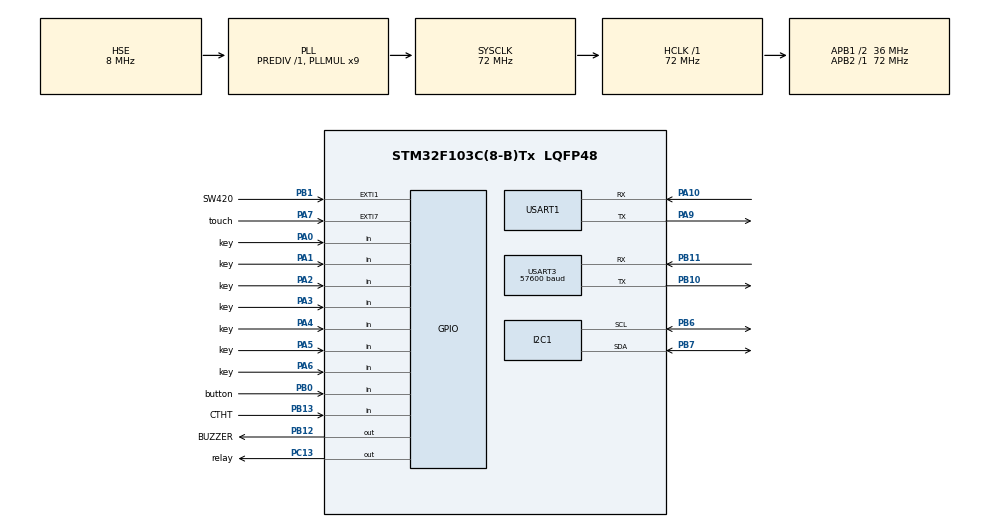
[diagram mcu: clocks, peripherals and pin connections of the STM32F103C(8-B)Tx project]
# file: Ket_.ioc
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Mcu.Family=STM32F1
Mcu.Name=STM32F103C(8-B)Tx
Mcu.Package=LQFP48
NVIC.EXTI1_IRQn=true\:0\:0\:false\:false\:true\:true\:true\:true
NVIC.EXTI9_5_IRQn=true\:0\:0\:false\:false\:true\:true\:true\:true
NVIC.PriorityGroup=NVIC_PRIORITYGROUP_4
NVIC.USART1_IRQn=true\:0\:0\:false\:false\:true\:true\:true\:true
NVIC.USART3_IRQn=true\:0\:0\:false\:false\:true\:true\:true\:true
PA0-WKUP.GPIO_Label=key
PA0-WKUP.Signal=GPIO_Input
PA1.GPIO_Label=key
PA1.Signal=GPIO_Input
PA10.Mode=Asynchronous
PA10.Signal=USART1_RX
PA13.Mode=Serial_Wire
PA13.Signal=SYS_JTMS-SWDIO
PA14.Mode=Serial_Wire
PA14.Signal=SYS_JTCK-SWCLK
PA2.GPIO_Label=key
PA2.Signal=GPIO_Input
PA3.GPIO_Label=key
PA3.Signal=GPIO_Input
PA4.GPIO_Label=key
PA4.Signal=GPIO_Input
PA5.GPIO_Label=key
PA5.Signal=GPIO_Input
PA6.GPIO_Label=key
PA6.Signal=GPIO_Input
PA7.GPIO_Label=touch
PA7.GPIO_ModeDefaultEXTI=GPIO_MODE_IT_RISING
PA7.GPIO_PuPd=GPIO_PULLDOWN
PA7.Signal=GPXTI7
PA9.Mode=Asynchronous
PA9.Signal=USART1_TX
PB0.GPIO_Label=button
PB0.GPIO_Mode=GPIO_MODE_INPUT
PB0.GPIO_PuPd=GPIO_PULLUP
PB0.Signal=GPIO_Input
PB1.GPIO_Label=SW420
PB1.GPIO_ModeDefaultEXTI=GPIO_MODE_IT_RISING_FALLING
PB1.Signal=GPXTI1
PB10.Mode=Asynchronous
PB10.Signal=USART3_TX
PB11.Mode=Asynchronous
PB11.Signal=USART3_RX
PB12.GPIO_Label=BUZZER
PB12.Signal=GPIO_Output
PB13.GPIO_Label=CTHT
PB13.GPIO_PuPd=GPIO_PULLUP
PB13.Signal=GPIO_Input
PB6.Mode=I2C
PB6.Signal=I2C1_SCL
PB7.Mode=I2C
PB7.Signal=I2C1_SDA
PC13-TAMPER-RTC.GPIO_Label=relay
PC13-TAMPER-RTC.Signal=GPIO_Output
PD0-OSC_IN.Mode=HSE-External-Oscillator
PD0-OSC_IN.Signal=RCC_OSC_IN
PD1-OSC_OUT.Mode=HSE-External-Oscillator
PD1-OSC_OUT.Signal=RCC_OSC_OUT
ProjectManager.HeapSize=0x200
ProjectManager.StackSize=0x400
ProjectManager.TargetToolchain=STM32CubeIDE
RCC.AHBFreq_Value=72000000
RCC.APB1CLKDivider=RCC_HCLK_DIV2
RCC.APB1Freq_Value=36000000
RCC.APB1TimFreq_Value=72000000
RCC.APB2Freq_Value=72000000
RCC.APB2TimFreq_Value=72000000
RCC.HCLKFreq_Value=72000000
RCC.PLLMUL=RCC_PLL_MUL9
RCC.PLLSourceVirtual=RCC_PLLSOURCE_HSE
RCC.SYSCLKFreq_VALUE=72000000
RCC.SYSCLKSource=RCC_SYSCLKSOURCE_PLLCLK
RCC.USBFreq_Value=72000000
USART1.VirtualMode=VM_ASYNC
USART3.BaudRate=57600
USART3.VirtualMode=VM_ASYNC
board=custom

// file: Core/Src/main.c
/* USER CODE BEGIN Header */
/**
 ******************************************************************************
 * @file           : main.c
 * @brief          : Main program body
 ******************************************************************************
 * @attention
 *
 * Copyright (c) 2026 STMicroelectronics.
 * All rights reserved.
 *
 * This software is licensed under terms that can be found in the LICENSE file
 * in the root directory of this software component.
 * If no LICENSE file comes with this software, it is provided AS-IS.
 *
 ******************************************************************************
 */
/* USER CODE END Header */
#include "main.h"

/* USER CODE BEGIN Includes */
#include "as608.h"
#include "fonts.h"
#include "keypad_3x4_quang.h"
#include "ssd1306.h"
#include <stdio.h>
#include <stdlib.h>
#include <string.h>

/* USER CODE END Includes */

/* USER CODE BEGIN PD */
#define PASSWORD "1234"
#define PASSWORD_LEN 4
#define MAX_INPUT 16
#define MAX_FAIL 3
#define LOCK_TIME_MS 5000
/* USER CODE END PD */

I2C_HandleTypeDef hi2c1;

UART_HandleTypeDef huart1;
UART_HandleTypeDef huart3;

/* USER CODE BEGIN PV */
// ── Trạng thái hệ thống ──
typedef enum {
  STATE_MENU,          // Menu chọn chế độ
  STATE_INPUT_PIN,     // Đang nhập mật khẩu
  STATE_INPUT_OTP,     // Đang nhập mã OTP
  STATE_WAIT_FINGER,   // Chờ quét vân tay (Lớp 2 tại chỗ)
  STATE_WAIT_FACE,     // Chờ xác thực khuôn mặt từ web (mở từ xa)
  STATE_WAIT_OTP,      // Chờ server xác minh OTP
  STATE_VAULT_OPEN,    // Két đang mở
  STATE_LOCKED_TEMP,   // Tạm khóa do nhập sai 3 lần
  STATE_ENROLL_FINGER, // Đang đăng ký vân tay mới
} SystemState_t;

SystemState_t sysState = STATE_MENU;

// ── OTP ──
char otpBuffer[8]; // Buffer nhập OTP
uint8_t otpIndex = 0;

char pinBuffer[MAX_INPUT + 1]; // Lưu mã PIN đang nhập
uint8_t pinIndex = 0;          // Vị trí ký tự hiện tại
uint8_t failCount = 0;         // Số lần nhập sai
uint32_t lastActionTime = 0;   // Timestamp cho timeout
uint8_t fingerFailCount = 0;   // Số lần quét vân tay sai
int8_t batteryPercent = -1;    // % pin từ ESP32 ADC (-1 = chưa có)

// ── Trạng thái Cửa ──
uint32_t doorClosedTime = 0;    // Timestamp lúc cửa vừa đóng
uint8_t lastDoorState = 1;      // Trạng thái cửa trước đó (1 = Mở, 0 = Đóng)
uint8_t doorOpenWarned = 0;     // Đã cảnh báo cửa mở quá lâu?
#define DOOR_OPEN_WARN_MS 20000 // 20 giây

// ── Auto-recovery AS608 ──
uint8_t as608ErrorCount = 0; // Đếm lỗi liên tiếp

// ── Cảnh báo rung (Vibration) ──
uint8_t vibrationDetected = 0;
uint32_t vibrationTime = 0;

// ── Đăng ký vân tay ──
uint16_t enrollId = 0;  // ID vân tay đang đăng ký
uint8_t enrollStep = 0; // Bước: 0=chờ lần1, 1=chờ nhấc tay, 2=chờ lần2

// ── Cấu hình Layer 2 ──
uint32_t layer2_enabled = 1; // Trạng thái bật/tắt (1=Bật, 0=Tắt)
uint32_t lastPB0Press = 0;   // Debounce cho nút PB0

// ── Chế độ ngủ (Sleep / STOP Mode) ──
#define SLEEP_TIMEOUT_MS 15000     // 15 giây không thao tác → đi ngủ
volatile uint8_t isSleeping = 0;   // 1 = đang ngủ
volatile uint8_t wakeupSource = 0; // 0=none, 1=touch, 2=uart

#define FLASH_USER_PAGE_ADDR ((uint32_t)0x0800FC00) /* Page 63 */

uint32_t Read_Layer2_Status(void) {
  return *(__IO uint32_t *)FLASH_USER_PAGE_ADDR;
}

void Write_Layer2_Status(uint32_t status) {
  HAL_FLASH_Unlock();
  FLASH_EraseInitTypeDef EraseInitStruct;
  uint32_t PageError = 0;
  EraseInitStruct.TypeErase = FLASH_TYPEERASE_PAGES;
  EraseInitStruct.PageAddress = FLASH_USER_PAGE_ADDR;
  EraseInitStruct.NbPages = 1;
  HAL_FLASHEx_Erase(&EraseInitStruct, &PageError);
  HAL_FLASH_Program(FLASH_TYPEPROGRAM_WORD, FLASH_USER_PAGE_ADDR, status);
  HAL_FLASH_Lock();
}

// ── UART nhận từ ESP32 ──
uint8_t uartRxByte;         // Nhận 1 byte
char uartRxBuffer[64];      // Buffer nhận dữ liệu ngắt
char uartProcessBuffer[64]; // Buffer để xử lý (tránh bị ghi đè)
uint8_t uartRxIndex = 0;
volatile uint8_t uartCmdReady = 0;   // Cờ có lệnh mới
volatile uint32_t uartByteCount = 0; // DEBUG: Đếm số byte nhận được

// ── Keypad cấu hình ──
Keypad_Cfg_t myKeypad;

/* USER CODE END PV */

void SystemClock_Config(void);
static void MX_GPIO_Init(void);
static void MX_I2C1_Init(void);
static void MX_USART1_UART_Init(void);
static void MX_USART3_UART_Init(void);
/* USER CODE BEGIN PFP */
void OLED_ShowText(const char *line1, const char *line2, const char *line3);
void OLED_ShowPinEntry(void);
void OLED_ShowMenu(void);
void OLED_ShowOTPEntry(void);
void UART_SendString(const char *str);
void ProcessUARTCommand(void);
void Relay_Open(void);
void Relay_Close(void);
void ResetToMenu(void);
void Buzzer_Beep(uint8_t count, uint16_t on_ms, uint16_t off_ms);
void EnterSleepMode(void);
void WakeupFromSleep(void);
/* USER CODE END PFP */

/* USER CODE BEGIN 0 */

// ── Hiển thị OLED (3 dòng) ──
void OLED_ShowText(const char *line1, const char *line2, const char *line3) {
  ssd1306_Fill(Black);
  if (line1) {
    ssd1306_SetCursor(0, 0);
    ssd1306_WriteString(line1, Font_7x10, White);
  }
  if (line2) {
    ssd1306_SetCursor(0, 20);
    ssd1306_WriteString(line2, Font_7x10, White);
  }
  if (line3) {
    ssd1306_SetCursor(0, 40);
    ssd1306_WriteString(line3, Font_7x10, White);
  }
  ssd1306_UpdateScreen(&hi2c1);
}

// ── Hiển thị PIN đang nhập (mã hóa *) ──
void OLED_ShowPinEntry(void) {
  char masked[MAX_INPUT + 1];
  for (uint8_t i = 0; i < pinIndex; i++) {
    masked[i] = '*';
  }
  masked[pinIndex] = '\0';

  char line2[24];
  snprintf(line2, sizeof(line2), "PIN: %s", masked);

  char line3[24];
  snprintf(line3, sizeof(line3), "Sai: %d/%d", failCount, MAX_FAIL);

  OLED_ShowText("== NHAP MAT KHAU ==", line2, line3);
}

// ── Hiển thị Menu chính ──
void OLED_ShowMenu(void) {
  char line1[22];
  if (batteryPercent >= 0) {
    snprintf(line1, sizeof(line1), "SAFEVAULT    %d%%", batteryPercent);
  } else {
    snprintf(line1, sizeof(line1), "== SAFEVAULT ==");
  }
  OLED_ShowText(line1, "1. Nhap mat khau", "2. Nhap ma OTP");
}

// ── Hiển thị OTP đang nhập ──
void OLED_ShowOTPEntry(void) {
  char masked[8];
  for (uint8_t i = 0; i < otpIndex; i++)
    masked[i] = '*';
  masked[otpIndex] = '\0';

  char line2[20];
  snprintf(line2, sizeof(line2), "OTP: %s", masked);
  OLED_ShowText("== NHAP MA OTP ==", line2, "Nhan # de xac nhan");
}

// ── Reset về menu chính ──
void ResetToMenu(void) {
  sysState = STATE_MENU;
  pinIndex = 0;
  otpIndex = 0;
  failCount = 0;
  lastActionTime = HAL_GetTick();
  memset(pinBuffer, 0, sizeof(pinBuffer));
  memset(otpBuffer, 0, sizeof(otpBuffer));
  OLED_ShowMenu();
}

// ── Gửi chuỗi qua UART đến ESP32 ──
void UART_SendString(const char *str) {
  HAL_UART_Transmit(&huart1, (uint8_t *)str, strlen(str), 200);
}

// ── Buzzer (PB12) ──
void Buzzer_Beep(uint8_t count, uint16_t on_ms, uint16_t off_ms) {
  for (uint8_t i = 0; i < count; i++) {
    HAL_GPIO_WritePin(BUZZER_GPIO_Port, BUZZER_Pin, GPIO_PIN_SET);
    HAL_Delay(on_ms);
    HAL_GPIO_WritePin(BUZZER_GPIO_Port, BUZZER_Pin, GPIO_PIN_RESET);
    if (i < count - 1)
      HAL_Delay(off_ms);
  }
}

// ── Điều khiển Relay (PC13) ──
// Hầu hết module relay phổ biến là Active-LOW:
//   LOW  (RESET) = Relay BẬT (mở chốt)
//   HIGH (SET)   = Relay TẮT (đóng chốt)
void Relay_Open(void) {
  HAL_GPIO_WritePin(GPIOC, GPIO_PIN_13, GPIO_PIN_SET);
  doorClosedTime = HAL_GetTick();
}

void Relay_Close(void) {
  HAL_GPIO_WritePin(GPIOC, GPIO_PIN_13, GPIO_PIN_RESET);
  doorClosedTime = HAL_GetTick();
}

// ── UART Rx Complete callback ──
void HAL_UART_RxCpltCallback(UART_HandleTypeDef *huart) {
  if (huart->Instance == USART1) {
    if (uartRxByte == '\n' || uartRxByte == '\r') {
      if (uartRxIndex > 0) {
        uartRxBuffer[uartRxIndex] = '\0';
        strcpy(uartProcessBuffer, uartRxBuffer);
        uartCmdReady = 1;
        uartRxIndex = 0;
      }
    } else {
      if (uartRxIndex < sizeof(uartRxBuffer) - 1) {
        uartRxBuffer[uartRxIndex++] = (char)uartRxByte;
      }
      uartByteCount++;
    }
    HAL_UART_Receive_IT(&huart1, &uartRxByte, 1);
  }
}

// ── Xử lý lỗi UART (Overrun, Noise, Framing) ──
void HAL_UART_ErrorCallback(UART_HandleTypeDef *huart) {
  if (huart->Instance == USART1) {
    __HAL_UART_CLEAR_OREFLAG(huart);
    __HAL_UART_CLEAR_NEFLAG(huart);
    __HAL_UART_CLEAR_FEFLAG(huart);
    HAL_UART_Receive_IT(&huart1, &uartRxByte, 1);
  }
}

// ── Xử lý lệnh nhận từ ESP32 ──
void ProcessUARTCommand(void) {
  char *unlockPtr = strstr(uartProcessBuffer, "UNLOCK:");
  if (unlockPtr != NULL) {
    char *memberName = unlockPtr + 7;
    sysState = STATE_VAULT_OPEN;
    lastActionTime = HAL_GetTick();
    Relay_Open();

    char line2[22];
    snprintf(line2, sizeof(line2), "Nguoi: %s", memberName);
    OLED_ShowText("TRANG THAI", "OPEN", "");
    UART_SendString("ACK:UNLOCKED\n");

  } else if (strstr(uartProcessBuffer, "TEMP_LOCK") != NULL) {
    sysState = STATE_LOCKED_TEMP;
    lastActionTime = HAL_GetTick();
    OLED_ShowText("!! CANH BAO !!", "Tam khoa 5 giay", "Sai qua nhieu lan");
    HAL_Delay(LOCK_TIME_MS);
    ResetToMenu();

  } else if (strstr(uartProcessBuffer, "LOCK") != NULL) {
    Relay_Close();
    OLED_ShowText("TRANG THAI", "CLOSE", "");
    HAL_Delay(1500);
    ResetToMenu();
    UART_SendString("ACK:LOCKED\n");

  } else if (strstr(uartProcessBuffer, "FAIL") != NULL) {
    OLED_ShowText("== XAC THUC ==", "THAT BAI", "Thu lai...");
    HAL_Delay(2000);
    if (sysState == STATE_WAIT_FACE) {
      OLED_ShowText("== CHO XAC THUC ==", "Quet khuon mat",
                    "tren dien thoai...");
    }

  } else if (strstr(uartProcessBuffer, "ENROLL_START:") != NULL) {
    // Lệnh đăng ký vân tay mới từ Web
    char *idPtr = strstr(uartProcessBuffer, "ENROLL_START:") + 13;
    enrollId = (uint16_t)atoi(idPtr);
    enrollStep = 0;
    sysState = STATE_ENROLL_FINGER;
    lastActionTime = HAL_GetTick();
    char msg[24];
    snprintf(msg, sizeof(msg), "Slot ID: %d", enrollId);
    OLED_ShowText("== DANG KY VAN TAY ==", msg, "Dat ngon tay len...");

  } else if (strstr(uartProcessBuffer, "BATTERY:") != NULL) {
    // Cập nhật % pin từ ESP32 ADC
    char *batPtr = strstr(uartProcessBuffer, "BATTERY:") + 8;
    batteryPercent = (int8_t)atoi(batPtr);
    // Cập nhật OLED nếu đang ở menu
    if (sysState == STATE_MENU) {
      OLED_ShowMenu();
    }
  }

  uartCmdReady = 0;
}

/* USER CODE END 0 */

int main(void) {

  /* MCU Configuration--------------------------------------------------------*/

  /* Reset of all peripherals, Initializes the Flash interface and the Systick.
   */
  HAL_Init();

  /* Configure the system clock */
  SystemClock_Config();

  /* Initialize all configured peripherals */
  MX_GPIO_Init();
  MX_I2C1_Init();
  MX_USART1_UART_Init();
  MX_USART3_UART_Init();
  /* USER CODE BEGIN 2 */

  // ── Khởi tạo OLED ──
  ssd1306_Init(&hi2c1);
  OLED_ShowText("== SafeVault ==", "Khoi dong...", "v3.0");
  HAL_Delay(1000);

  // ── Khởi tạo cảm biến vân tay AS608 ──
  if (AS608_Init(&huart3) == AS608_OK) {
    OLED_ShowText("AS608", "Ket noi OK!", "");
  } else {
    OLED_ShowText("AS608", "LOI KET NOI!", "Kiem tra day");
  }
  HAL_Delay(1000);

  // ── Đọc cấu hình Layer 2 từ Flash ──
  layer2_enabled = Read_Layer2_Status();
  if (layer2_enabled != 0 && layer2_enabled != 1) {
    // Chưa từng lưu (giá trị 0xFFFFFFFF), đặt mặc định là Bật (1)
    layer2_enabled = 1;
    Write_Layer2_Status(layer2_enabled);
  }

  // ── Cấu hình Keypad 4x3 ──
  // Rows: PA0, PA1, PA2, PA3 (Output)
  // Cols: PA4, PA5, PA6 (Input with Pull-up)
  myKeypad.R_Port[0] = GPIOA;
  myKeypad.R_Pin[0] = GPIO_PIN_0;
  myKeypad.R_Port[1] = GPIOA;
  myKeypad.R_Pin[1] = GPIO_PIN_1;
  myKeypad.R_Port[2] = GPIOA;
  myKeypad.R_Pin[2] = GPIO_PIN_2;
  myKeypad.R_Port[3] = GPIOA;
  myKeypad.R_Pin[3] = GPIO_PIN_3;

  myKeypad.C_Port[0] = GPIOA;
  myKeypad.C_Pin[0] = GPIO_PIN_4;
  myKeypad.C_Port[1] = GPIOA;
  myKeypad.C_Pin[1] = GPIO_PIN_5;
  myKeypad.C_Port[2] = GPIOA;
  myKeypad.C_Pin[2] = GPIO_PIN_6;

  // ── Cấu hình lại GPIO cho Keypad ──
  // Rows → Output Push-Pull
  GPIO_InitTypeDef GPIO_InitStruct = {0};
  GPIO_InitStruct.Pin = GPIO_PIN_0 | GPIO_PIN_1 | GPIO_PIN_2 | GPIO_PIN_3;
  GPIO_InitStruct.Mode = GPIO_MODE_OUTPUT_PP;
  GPIO_InitStruct.Pull = GPIO_NOPULL;
  GPIO_InitStruct.Speed = GPIO_SPEED_FREQ_LOW;
  HAL_GPIO_Init(GPIOA, &GPIO_InitStruct);

  // Cols → Input Pull-Up
  GPIO_InitStruct.Pin = GPIO_PIN_4 | GPIO_PIN_5 | GPIO_PIN_6;
  GPIO_InitStruct.Mode = GPIO_MODE_INPUT;
  GPIO_InitStruct.Pull = GPIO_PULLUP;
  HAL_GPIO_Init(GPIOA, &GPIO_InitStruct);

  // ── Relay ban đầu: khóa ──
  Relay_Close();

  // ── Bắt đầu nhận UART interrupt ──
  HAL_UART_Receive_IT(&huart1, &uartRxByte, 1);

  // ── Trạng thái ban đầu: Menu ──
  sysState = STATE_MENU;
  pinIndex = 0;
  otpIndex = 0;
  failCount = 0;
  uartCmdReady = 0;
  memset(pinBuffer, 0, sizeof(pinBuffer));
  memset(otpBuffer, 0, sizeof(otpBuffer));
  memset(uartProcessBuffer, 0, sizeof(uartProcessBuffer));
  OLED_ShowMenu();

  /* USER CODE END 2 */

  /* Infinite loop */
  while (1) {

    /* USER CODE BEGIN 3 */

    // ══════════════════════════════════════
    //  THEO DÕI TRẠNG THÁI CỬA (CÔNG TẮC HÀNH TRÌNH)
    // ══════════════════════════════════════
    uint8_t currentDoorState = HAL_GPIO_ReadPin(CTHT_GPIO_Port, CTHT_Pin);
    if (currentDoorState == GPIO_PIN_RESET && lastDoorState == GPIO_PIN_SET) {
      // Cửa vừa mới chuyển từ MỞ sang ĐÓNG
      // CHỈ cập nhật thời gian nếu đang ở trạng thái mở hợp lệ
      // Để tránh trường hợp đập phá làm nảy công tắc hành trình gây reset bộ đếm
      if (sysState == STATE_VAULT_OPEN) {
        doorClosedTime = HAL_GetTick();
      }
    }
    lastDoorState = currentDoorState;

    // ══════════════════════════════════════
    //  XỬ LÝ DELAY CẢNH BÁO RUNG (2 GIÂY)
    // ══════════════════════════════════════
    if (vibrationDetected) {
      if (HAL_GetTick() - vibrationTime > 2000) {
        // Sau 2 giây, nếu cửa VẪN ĐÓNG (CTHT = RESET) và két KHÔNG phải đang mở hợp lệ
        // thì mới phát cảnh báo (đây là rung lắc do phá hoại, không phải do rơ-le)
        if (HAL_GPIO_ReadPin(CTHT_GPIO_Port, CTHT_Pin) == GPIO_PIN_RESET && sysState != STATE_VAULT_OPEN) {
          UART_SendString("WARNING:VIBRATION\n");
          Buzzer_Beep(15, 100, 100); // Hú 15 tiếng nhanh liên tục
          lastActionTime = HAL_GetTick();
        }
        vibrationDetected = 0; // Đặt lại cờ sau khi xử lý xong
      }
    }

    // ══════════════════════════════════════
    //  KIỂM TRA AUTO-SLEEP (15s không thao tác)
    // ══════════════════════════════════════
    if (!isSleeping && sysState == STATE_MENU) {
      if (HAL_GetTick() - lastActionTime > SLEEP_TIMEOUT_MS) {
        EnterSleepMode();
        // === CPU thức dậy tại đây sau khi có ngắt ===
        WakeupFromSleep();
        continue;
      }
    }

    // Đã dùng Buzzer_Beep (blocking) nên không cần vòng lặp tự tắt còi nữa

    // ══════════════════════════════════════
    //  NÚT BẤM PB0: BẬT/TẮT LAYER 2
    // ══════════════════════════════════════
    if (HAL_GPIO_ReadPin(GPIOB, GPIO_PIN_0) == GPIO_PIN_RESET) {
      if (HAL_GetTick() - lastPB0Press > 500) {
        layer2_enabled = !layer2_enabled;
        Write_Layer2_Status(layer2_enabled);

        if (layer2_enabled) {
          OLED_ShowText("== CAU HINH ==", "Lop 2: BAT", "(PIN + Van tay)");
        } else {
          OLED_ShowText("== CAU HINH ==", "Lop 2: TAT", "(Chi dung PIN)");
        }
        HAL_Delay(1500);

        lastActionTime = HAL_GetTick();
        if (sysState == STATE_MENU)
          OLED_ShowMenu();
        else if (sysState == STATE_INPUT_PIN)
          OLED_ShowPinEntry();
        else if (sysState == STATE_INPUT_OTP)
          OLED_ShowOTPEntry();
      }
      lastPB0Press = HAL_GetTick();
    }

    // ══════════════════════════════════════
    //  XỬ LÝ LỆNH UART TỪ ESP32
    // ══════════════════════════════════════
    if (uartCmdReady) {
      ProcessUARTCommand();
    }

    // Tự động phục hồi ngắt UART
    if (huart1.RxState == HAL_UART_STATE_READY) {
      HAL_UART_Receive_IT(&huart1, &uartRxByte, 1);
    }

    // ══════════════════════════════════════
    //  MENU CHÍNH
    // ══════════════════════════════════════
    if (sysState == STATE_MENU) {
      char key = Keypad_Read(&myKeypad);
      if (key == '1') {
        sysState = STATE_INPUT_PIN;
        lastActionTime = HAL_GetTick();
        OLED_ShowPinEntry();
      } else if (key == '2') {
        sysState = STATE_INPUT_OTP;
        lastActionTime = HAL_GetTick();
        OLED_ShowOTPEntry();
      }

      // ══════════════════════════════════════
      //  NHẬP MẬT KHẨU (Stealth PIN)
      // ══════════════════════════════════════
    } else if (sysState == STATE_INPUT_PIN) {
      // Timeout 10s không nhập gì → về menu
      if (pinIndex > 0 && (HAL_GetTick() - lastActionTime > 10000)) {
        ResetToMenu();
      }

      char key = Keypad_Read(&myKeypad);
      if (key != 0) {
        lastActionTime = HAL_GetTick();

        if (key == '*') {
          if (pinIndex > 0) {
            pinIndex--;
            pinBuffer[pinIndex] = '\0';
          } else {
            // Nhấn * khi trống → về menu
            ResetToMenu();
          }
          if (sysState == STATE_INPUT_PIN)
            OLED_ShowPinEntry();

        } else if (key == '#') {
          if (pinIndex == 0) {
            OLED_ShowText("== NHAP MAT KHAU ==", "Chua nhap PIN!",
                          "Nhap roi nhan #");
            HAL_Delay(1000);
            OLED_ShowPinEntry();

          } else if (strstr(pinBuffer, PASSWORD) != NULL) {
            // ✅ Tìm thấy mật khẩu trong dãy (Stealth PIN)
            failCount = 0;
            pinIndex = 0;
            memset(pinBuffer, 0, sizeof(pinBuffer));

            if (layer2_enabled) {
              sysState = STATE_WAIT_FINGER;
              fingerFailCount = 0;
              lastActionTime = HAL_GetTick();

              OLED_ShowText("== PIN DUNG ==", "Chuyen Layer 2...",
                            "Dat van tay len");
              HAL_Delay(500);
              OLED_ShowText("== QUET VAN TAY ==", "Dat ngon tay len",
                            "cam bien...");
            } else {
              // 🔓 Bỏ qua Layer 2 (Bypass)
              OLED_ShowText("== MO KHOA ==", "Lop 2 da tat", "(Bypass L2)");
              UART_SendString("UNLOCK_BYPASS\n");
              Relay_Open();
              sysState = STATE_VAULT_OPEN;
              lastActionTime = HAL_GetTick();
            }

          } else {
            // ❌ Sai mật khẩu
            failCount++;
            pinIndex = 0;
            memset(pinBuffer, 0, sizeof(pinBuffer));

            if (failCount >= MAX_FAIL) {
              sysState = STATE_LOCKED_TEMP;
              OLED_ShowText("!! TAM KHOA !!", "Sai 3 lan lien tiep",
                            "Cho 5 giay...");
              Buzzer_Beep(3, 300, 200);
              UART_SendString("LOCKED_TEMP\n");
              HAL_Delay(LOCK_TIME_MS);
              ResetToMenu();
            } else {
              char msg[24];
              snprintf(msg, sizeof(msg), "Sai! Con %d lan",
                       MAX_FAIL - failCount);
              OLED_ShowText("== SAI MAT KHAU ==", msg, "Thu lai...");
              HAL_Delay(1500);
              OLED_ShowPinEntry();
            }
          }

        } else {
          // Ký tự số → thêm vào buffer
          if (pinIndex < MAX_INPUT) {
            pinBuffer[pinIndex++] = key;
            pinBuffer[pinIndex] = '\0';
            OLED_ShowPinEntry();
          }
        }
      }

      // ══════════════════════════════════════
      //  NHẬP MÃ OTP
      // ══════════════════════════════════════
    } else if (sysState == STATE_INPUT_OTP) {
      if (otpIndex > 0 && (HAL_GetTick() - lastActionTime > 10000)) {
        ResetToMenu();
      }

      char key = Keypad_Read(&myKeypad);
      if (key != 0) {
        lastActionTime = HAL_GetTick();

        if (key == '*') {
          if (otpIndex > 0) {
            otpIndex--;
            otpBuffer[otpIndex] = '\0';
          } else {
            ResetToMenu();
          }
          if (sysState == STATE_INPUT_OTP)
            OLED_ShowOTPEntry();

        } else if (key == '#') {
          if (otpIndex == 0) {
            OLED_ShowText("== NHAP MA OTP ==", "Chua nhap ma!",
                          "Nhap roi nhan #");
            HAL_Delay(1000);
            OLED_ShowOTPEntry();
          } else {
            // Gửi OTP lên ESP32 để server xác minh
            char cmd[16];
            snprintf(cmd, sizeof(cmd), "OTP:%s\n", otpBuffer);
            UART_SendString(cmd);

            sysState = STATE_WAIT_OTP;
            lastActionTime = HAL_GetTick();
            OLED_ShowText("== XAC MINH OTP ==", "Dang kiem tra...",
                          "Vui long cho");

            otpIndex = 0;
            memset(otpBuffer, 0, sizeof(otpBuffer));
          }

        } else {
          if (otpIndex < 6) {
            otpBuffer[otpIndex++] = key;
            otpBuffer[otpIndex] = '\0';
            OLED_ShowOTPEntry();
          }
        }
      }

      // ══════════════════════════════════════
      //  CHỜ SERVER XÁC MINH OTP
      // ══════════════════════════════════════
    } else if (sysState == STATE_WAIT_OTP) {
      if (HAL_GetTick() - lastActionTime > 10000) {
        OLED_ShowText("== HET HAN ==", "Server khong phan hoi", "");
        HAL_Delay(2000);
        ResetToMenu();
      }

      // ══════════════════════════════════════
      //  CHờ QUÉT VÂN TAY (LAYER 2 TẠI CHỖ)
      // ══════════════════════════════════════
    } else if (sysState == STATE_WAIT_FINGER) {
      // Timeout 15s
      if (HAL_GetTick() - lastActionTime > 15000) {
        OLED_ShowText("== HET HAN ==", "Khong quet van tay",
                      "Vui long thu lai");
        HAL_Delay(2000);
        ResetToMenu();
      } else {
        // Thử đọc vân tay
        uint8_t imgRet = AS608_GetImage();
        if (imgRet != AS608_OK && imgRet != AS608_NO_FINGER) {
          // AS608 trả về lỗi bất thường → đếm
          as608ErrorCount++;
          if (as608ErrorCount >= 5) {
            // Auto-recovery: reinit UART3
            MX_USART3_UART_Init();
            as608ErrorCount = 0;
          }
        } else {
          as608ErrorCount = 0; // Reset đếm khi hoạt động bình thường
        }
        if (imgRet == AS608_OK) {
          // Có ngón tay, tạo đặc trưng và tìm kiếm
          if (AS608_GenChar(1) == AS608_OK) {
            AS608_SearchResult_t result;
            uint8_t searchRet = AS608_Search(&result);
            if (searchRet == AS608_OK && result.status == AS608_OK) {
              // ✅ Vân tay khớp
              char line2[22];
              snprintf(line2, sizeof(line2), "ID:%d (%d%%)", result.finger_id,
                       result.confidence / 100);
              OLED_ShowText("== MO KHOA ==", line2, "Van tay hop le!");
              Relay_Open();
              sysState = STATE_VAULT_OPEN;
              lastActionTime = HAL_GetTick();

              // Thông báo ESP32
              char cmd[32];
              snprintf(cmd, sizeof(cmd), "FINGER_OK:%d\n", result.finger_id);
              UART_SendString(cmd);
            } else {
              // ❌ Vân tay không khớp
              fingerFailCount++;
              if (fingerFailCount >= 3) {
                OLED_ShowText("!! THAT BAI !!", "3 lan sai lien tiep",
                              "Quay ve menu");
                Buzzer_Beep(3, 300, 200);
                UART_SendString("FINGER_FAIL\n");
                HAL_Delay(2000);
                ResetToMenu();
              } else {
                char msg[24];
                snprintf(msg, sizeof(msg), "Con %d lan thu",
                         3 - fingerFailCount);
                OLED_ShowText("Van tay SAI!", msg, "Thu lai...");
                HAL_Delay(1500);
                OLED_ShowText("== QUET VAN TAY ==", "Dat ngon tay len",
                              "cam bien...");
              }
            }
          } else {
            OLED_ShowText("Anh khong ro!", "Thu lai...", "");
            HAL_Delay(1000);
            OLED_ShowText("== QUET VAN TAY ==", "Dat ngon tay len",
                          "cam bien...");
          }
        }
        // Nếu AS608_NO_FINGER → chưa đặt ngón tay, tiếp tục lặp
      }

      // ══════════════════════════════════════
      //  CHờ QUÉT MẶT TỪ XA (Web)
      // ══════════════════════════════════════
    } else if (sysState == STATE_WAIT_FACE) {
      if (HAL_GetTick() - lastActionTime > 15000) {
        OLED_ShowText("== HET HAN ==", "Qua 15s khong quet",
                      "Vui long thu lai");
        HAL_Delay(2000);
        ResetToMenu();
      }

      // ══════════════════════════════════════
      //  KÉT ĐANG MỞ (CTHT + Auto-lock relay 3s)
      // ══════════════════════════════════════
    } else if (sysState == STATE_VAULT_OPEN) {
      if (HAL_GetTick() - lastActionTime <= 3000) {
        // Trong 3 giây đầu: KHÔNG QUAN TÂM công tắc hành trình
        // (Không làm gì cả để người dùng kéo cửa)
      } else {
        // Hết 3 giây: Đóng chốt relay
        Relay_Close();

        // Bây giờ mới đọc trạng thái công tắc hành trình
        uint8_t doorNow = HAL_GPIO_ReadPin(CTHT_GPIO_Port, CTHT_Pin);

        if (doorNow == GPIO_PIN_RESET) {
          // Công tắc bị nhấn (RESET) -> Cửa ĐÃ ĐÓNG (nhấn mới tính là đóng)
          OLED_ShowText("TRANG THAI", "CLOSE", "");
          UART_SendString("ACK:LOCKED\n");
          doorOpenWarned = 0;
          HAL_Delay(1500);
          ResetToMenu();
        } else {
          // Công tắc đang nhả -> Cửa ĐANG MỞ
          // Kiểm tra xem đã quá thời gian cảnh báo 20s chưa
          if (!doorOpenWarned && (HAL_GetTick() - lastActionTime > DOOR_OPEN_WARN_MS)) {
            doorOpenWarned = 1;
            OLED_ShowText("!! CANH BAO !!", "Cua mo qua lau!", "Vui long dong cua");
            Buzzer_Beep(5, 200, 150);
            UART_SendString("DOOR_OPEN_LONG\n");
          }
        }
      }

      // ══════════════════════════════════════
      //  ĐĂNG KÝ VÂN TAY MỚI (từ Web)
      // ══════════════════════════════════════
    } else if (sysState == STATE_ENROLL_FINGER) {
      // Timeout 30s
      if (HAL_GetTick() - lastActionTime > 30000) {
        OLED_ShowText("== HET HAN ==", "Dang ky that bai", "Timeout");
        UART_SendString("ENROLL_FAIL:TIMEOUT\n");
        HAL_Delay(2000);
        ResetToMenu();
      } else {
        if (enrollStep == 0) {
          // Bước 1: Thu ảnh vân tay lần 1
          uint8_t ret = AS608_GetImage();
          if (ret == AS608_OK) {
            if (AS608_GenChar(1) == AS608_OK) {
              enrollStep = 1;
              lastActionTime = HAL_GetTick();
              OLED_ShowText("== LAN 1 OK ==", "Nhac ngon tay ra",
                            "roi dat lai...");
            } else {
              OLED_ShowText("Anh khong ro!", "Thu lai...", "");
              HAL_Delay(1000);
              OLED_ShowText("== DANG KY ==", "Dat ngon tay len", "cam bien...");
            }
          }
        } else if (enrollStep == 1) {
          // Bước 2: Chờ nhấc ngón tay ra
          if (AS608_GetImage() == AS608_NO_FINGER) {
            enrollStep = 2;
            lastActionTime = HAL_GetTick();
            OLED_ShowText("== LAN 2 ==", "Dat lai ngon tay", "len cam bien...");
          }
        } else if (enrollStep == 2) {
          // Bước 3: Thu ảnh vân tay lần 2
          uint8_t ret = AS608_GetImage();
          if (ret == AS608_OK) {
            if (AS608_GenChar(2) == AS608_OK) {
              // Ghép 2 mẫu thành template
              if (AS608_RegModel() == AS608_OK) {
                // Lưu vào slot
                if (AS608_Store(enrollId) == AS608_OK) {
                  char msg[24];
                  snprintf(msg, sizeof(msg), "ID: %d", enrollId);
                  OLED_ShowText("== THANH CONG ==", msg, "Da luu van tay!");
                  char cmd[32];
                  snprintf(cmd, sizeof(cmd), "ENROLL_OK:%d\n", enrollId);
                  UART_SendString(cmd);
                  HAL_Delay(2000);
                  ResetToMenu();
                } else {
                  OLED_ShowText("LOI!", "Khong luu duoc", "Thu lai...");
                  UART_SendString("ENROLL_FAIL:STORE\n");
                  HAL_Delay(2000);
                  ResetToMenu();
                }
              } else {
                OLED_ShowText("LOI!", "2 mau khong khop", "Thu lai tu dau");
                UART_SendString("ENROLL_FAIL:MISMATCH\n");
                HAL_Delay(2000);
                ResetToMenu();
              }
            } else {
              OLED_ShowText("Anh khong ro!", "Thu lai...", "");
              HAL_Delay(1000);
              OLED_ShowText("== LAN 2 ==", "Dat lai ngon tay",
                            "len cam bien...");
            }
          }
        }
      }
    }

    HAL_Delay(50);
  }
  /* USER CODE END 3 */
}

void SystemClock_Config(void) {
  RCC_OscInitTypeDef RCC_OscInitStruct = {0};
  RCC_ClkInitTypeDef RCC_ClkInitStruct = {0};

  /** Initializes the RCC Oscillators according to the specified parameters
   * in the RCC_OscInitTypeDef structure.
   */
  RCC_OscInitStruct.OscillatorType = RCC_OSCILLATORTYPE_HSE;
  RCC_OscInitStruct.HSEState = RCC_HSE_ON;
  RCC_OscInitStruct.HSEPredivValue = RCC_HSE_PREDIV_DIV1;
  RCC_OscInitStruct.HSIState = RCC_HSI_ON;
  RCC_OscInitStruct.PLL.PLLState = RCC_PLL_ON;
  RCC_OscInitStruct.PLL.PLLSource = RCC_PLLSOURCE_HSE;
  RCC_OscInitStruct.PLL.PLLMUL = RCC_PLL_MUL9;
  if (HAL_RCC_OscConfig(&RCC_OscInitStruct) != HAL_OK) {
    Error_Handler();
  }

  /** Initializes the CPU, AHB and APB buses clocks
   */
  RCC_ClkInitStruct.ClockType = RCC_CLOCKTYPE_HCLK | RCC_CLOCKTYPE_SYSCLK |
                                RCC_CLOCKTYPE_PCLK1 | RCC_CLOCKTYPE_PCLK2;
  RCC_ClkInitStruct.SYSCLKSource = RCC_SYSCLKSOURCE_PLLCLK;
  RCC_ClkInitStruct.AHBCLKDivider = RCC_SYSCLK_DIV1;
  RCC_ClkInitStruct.APB1CLKDivider = RCC_HCLK_DIV2;
  RCC_ClkInitStruct.APB2CLKDivider = RCC_HCLK_DIV1;

  if (HAL_RCC_ClockConfig(&RCC_ClkInitStruct, FLASH_LATENCY_2) != HAL_OK) {
    Error_Handler();
  }
}

static void MX_I2C1_Init(void) {

  hi2c1.Instance = I2C1;
  hi2c1.Init.ClockSpeed = 100000;
  hi2c1.Init.DutyCycle = I2C_DUTYCYCLE_2;
  hi2c1.Init.OwnAddress1 = 0;
  hi2c1.Init.AddressingMode = I2C_ADDRESSINGMODE_7BIT;
  hi2c1.Init.DualAddressMode = I2C_DUALADDRESS_DISABLE;
  hi2c1.Init.OwnAddress2 = 0;
  hi2c1.Init.GeneralCallMode = I2C_GENERALCALL_DISABLE;
  hi2c1.Init.NoStretchMode = I2C_NOSTRETCH_DISABLE;
  if (HAL_I2C_Init(&hi2c1) != HAL_OK) {
    Error_Handler();
  }
}

static void MX_USART1_UART_Init(void) {

  huart1.Instance = USART1;
  huart1.Init.BaudRate = 115200;
  huart1.Init.WordLength = UART_WORDLENGTH_8B;
  huart1.Init.StopBits = UART_STOPBITS_1;
  huart1.Init.Parity = UART_PARITY_NONE;
  huart1.Init.Mode = UART_MODE_TX_RX;
  huart1.Init.HwFlowCtl = UART_HWCONTROL_NONE;
  huart1.Init.OverSampling = UART_OVERSAMPLING_16;
  if (HAL_UART_Init(&huart1) != HAL_OK) {
    Error_Handler();
  }
}

static void MX_USART3_UART_Init(void) {

  huart3.Instance = USART3;
  huart3.Init.BaudRate = 57600;
  huart3.Init.WordLength = UART_WORDLENGTH_8B;
  huart3.Init.StopBits = UART_STOPBITS_1;
  huart3.Init.Parity = UART_PARITY_NONE;
  huart3.Init.Mode = UART_MODE_TX_RX;
  huart3.Init.HwFlowCtl = UART_HWCONTROL_NONE;
  huart3.Init.OverSampling = UART_OVERSAMPLING_16;
  if (HAL_UART_Init(&huart3) != HAL_OK) {
    Error_Handler();
  }
}

static void MX_GPIO_Init(void) {
  GPIO_InitTypeDef GPIO_InitStruct = {0};

  /* GPIO Ports Clock Enable */
  __HAL_RCC_GPIOC_CLK_ENABLE();
  __HAL_RCC_GPIOD_CLK_ENABLE();
  __HAL_RCC_GPIOA_CLK_ENABLE();
  __HAL_RCC_GPIOB_CLK_ENABLE();

  /*Configure GPIO pin Output Level */
  HAL_GPIO_WritePin(relay_GPIO_Port, relay_Pin, GPIO_PIN_RESET);

  /*Configure GPIO pin Output Level */
  HAL_GPIO_WritePin(BUZZER_GPIO_Port, BUZZER_Pin, GPIO_PIN_RESET);

  /*Configure GPIO pin : relay_Pin */
  GPIO_InitStruct.Pin = relay_Pin;
  GPIO_InitStruct.Mode = GPIO_MODE_OUTPUT_PP;
  GPIO_InitStruct.Pull = GPIO_NOPULL;
  GPIO_InitStruct.Speed = GPIO_SPEED_FREQ_LOW;
  HAL_GPIO_Init(relay_GPIO_Port, &GPIO_InitStruct);

  /*Configure GPIO pins : key_Pin keyA1_Pin keyA2_Pin keyA3_Pin
                           keyA4_Pin keyA5_Pin keyA6_Pin */
  GPIO_InitStruct.Pin = key_Pin | keyA1_Pin | keyA2_Pin | keyA3_Pin |
                        keyA4_Pin | keyA5_Pin | keyA6_Pin;
  GPIO_InitStruct.Mode = GPIO_MODE_INPUT;
  GPIO_InitStruct.Pull = GPIO_NOPULL;
  HAL_GPIO_Init(GPIOA, &GPIO_InitStruct);

  /*Configure GPIO pin : touch_Pin */
  GPIO_InitStruct.Pin = touch_Pin;
  GPIO_InitStruct.Mode = GPIO_MODE_IT_RISING;
  GPIO_InitStruct.Pull = GPIO_PULLDOWN;
  HAL_GPIO_Init(touch_GPIO_Port, &GPIO_InitStruct);

  /*Configure GPIO pins : button_Pin CTHT_Pin */
  GPIO_InitStruct.Pin = button_Pin | CTHT_Pin;
  GPIO_InitStruct.Mode = GPIO_MODE_INPUT;
  GPIO_InitStruct.Pull = GPIO_PULLUP;
  HAL_GPIO_Init(GPIOB, &GPIO_InitStruct);

  /*Configure GPIO pin : SW420_Pin */
  GPIO_InitStruct.Pin = SW420_Pin;
  GPIO_InitStruct.Mode = GPIO_MODE_IT_RISING_FALLING;
  GPIO_InitStruct.Pull = GPIO_NOPULL;
  HAL_GPIO_Init(SW420_GPIO_Port, &GPIO_InitStruct);

  /*Configure GPIO pin : BUZZER_Pin */
  GPIO_InitStruct.Pin = BUZZER_Pin;
  GPIO_InitStruct.Mode = GPIO_MODE_OUTPUT_PP;
  GPIO_InitStruct.Pull = GPIO_NOPULL;
  GPIO_InitStruct.Speed = GPIO_SPEED_FREQ_LOW;
  HAL_GPIO_Init(BUZZER_GPIO_Port, &GPIO_InitStruct);

  /* EXTI interrupt init*/
  HAL_NVIC_SetPriority(EXTI1_IRQn, 0, 0);
  HAL_NVIC_EnableIRQ(EXTI1_IRQn);

  HAL_NVIC_SetPriority(EXTI9_5_IRQn, 0, 0);
  HAL_NVIC_EnableIRQ(EXTI9_5_IRQn);

  /* USER CODE BEGIN MX_GPIO_Init_2 */
  // Override CubeMX: Keypad Rows PA0-PA3 = Output Push-Pull
  GPIO_InitStruct.Pin = GPIO_PIN_0 | GPIO_PIN_1 | GPIO_PIN_2 | GPIO_PIN_3;
  GPIO_InitStruct.Mode = GPIO_MODE_OUTPUT_PP;
  GPIO_InitStruct.Pull = GPIO_NOPULL;
  GPIO_InitStruct.Speed = GPIO_SPEED_FREQ_LOW;
  HAL_GPIO_Init(GPIOA, &GPIO_InitStruct);

  // Override CubeMX: Keypad Cols PA4-PA6 = Input Pull-Up
  GPIO_InitStruct.Pin = GPIO_PIN_4 | GPIO_PIN_5 | GPIO_PIN_6;
  GPIO_InitStruct.Mode = GPIO_MODE_INPUT;
  GPIO_InitStruct.Pull = GPIO_PULLUP;
  HAL_GPIO_Init(GPIOA, &GPIO_InitStruct);

  // Nút bấm PB0: Bật/Tắt Layer 2 (Input Pull-Up, nhấn = LOW)
  GPIO_InitStruct.Pin = GPIO_PIN_0;
  GPIO_InitStruct.Mode = GPIO_MODE_INPUT;
  GPIO_InitStruct.Pull = GPIO_PULLUP;
  HAL_GPIO_Init(GPIOB, &GPIO_InitStruct);
  /* USER CODE END MX_GPIO_Init_2 */
}

/* USER CODE BEGIN 4 */

// ══════════════════════════════════════
//  CHẾ ĐỘ NGỦ (STOP MODE)
// ══════════════════════════════════════
void EnterSleepMode(void) {
  isSleeping = 1;
  wakeupSource = 0;

  // 1. Tắt màn hình OLED
  ssd1306_Fill(Black);
  ssd1306_UpdateScreen(&hi2c1);
  ssd1306_SetDisplayOn(&hi2c1, 0); // Display OFF

  // 2. Đảm bảo Relay đang khóa
  Relay_Close();

  // 3. Thông báo ESP32 rằng STM32 đang ngủ
  UART_SendString("SLEEPING\n");
  HAL_Delay(50); // Chờ UART truyền xong trước khi tắt

  // 4. Cấu hình PA10 (UART1_RX) thành ngắt EXTI để đánh thức từ ESP32
  //    (UART start bit = falling edge trên RX)
  HAL_UART_DeInit(&huart1); // Tắt UART1 tạm thời
  GPIO_InitTypeDef gpioInit = {0};
  gpioInit.Pin = GPIO_PIN_10;
  gpioInit.Mode = GPIO_MODE_IT_FALLING; // Start bit UART = falling edge
  gpioInit.Pull = GPIO_PULLUP;
  HAL_GPIO_Init(GPIOA, &gpioInit);
  HAL_NVIC_SetPriority(EXTI15_10_IRQn, 0, 0);
  HAL_NVIC_EnableIRQ(EXTI15_10_IRQn);

  // 5. Đi vào STOP Mode - CPU dừng hoàn toàn tại đây
  HAL_SuspendTick();
  HAL_PWR_EnterSTOPMode(PWR_LOWPOWERREGULATOR_ON, PWR_SLEEPENTRY_WFI);
  // ──── CPU DỪNG TẠI ĐÂY cho đến khi có ngắt EXTI ────
  HAL_ResumeTick();
}

void WakeupFromSleep(void) {
  // 1. Khôi phục xung nhịp hệ thống (STOP mode tắt HSE/PLL)
  SystemClock_Config();

  // 2. Tắt ngắt EXTI trên PA10, xóa pending bit, khôi phục UART1
  HAL_NVIC_DisableIRQ(EXTI15_10_IRQn);
  __HAL_GPIO_EXTI_CLEAR_IT(GPIO_PIN_10); // Xóa EXTI pending bit
  HAL_GPIO_DeInit(GPIOA, GPIO_PIN_10);   // DeInit PA10 khỏi mode EXTI
  MX_USART1_UART_Init();                 // Reinit UART1 (PA9 TX + PA10 RX)
  HAL_Delay(10);                         // Chờ UART ổn định
  HAL_UART_Receive_IT(&huart1, &uartRxByte, 1);

  // 3. Bật lại màn hình OLED
  ssd1306_SetDisplayOn(&hi2c1, 1); // Display ON

  // 4. Reset trạng thái
  isSleeping = 0;
  lastActionTime = HAL_GetTick();
  sysState = STATE_MENU;
  pinIndex = 0;
  otpIndex = 0;
  memset(pinBuffer, 0, sizeof(pinBuffer));
  memset(otpBuffer, 0, sizeof(otpBuffer));

  // Reset UART buffers để đảm bảo không dính rác lúc thức dậy
  uartRxIndex = 0;
  uartCmdReady = 0;
  memset(uartRxBuffer, 0, sizeof(uartRxBuffer));
  memset(uartProcessBuffer, 0, sizeof(uartProcessBuffer));

  // 5. Hiển thị Menu
  OLED_ShowMenu();

  // 6. Gửi ACK:WAKEUP cho ESP32
  UART_SendString("ACK:WAKEUP\n");

  // 7. Nếu thức dậy do ESP32 (UART), chờ lệnh gửi lại và xử lý ngay
  if (wakeupSource == 2) {
    OLED_ShowText("== DANG XU LY ==", "Lenh tu xa...", "");
    uint32_t waitStart = HAL_GetTick();
    while (HAL_GetTick() - waitStart < 2000) { // Chờ tối đa 2 giây
      // Khôi phục UART RX nếu bị lỗi
      if (huart1.RxState == HAL_UART_STATE_READY) {
        HAL_UART_Receive_IT(&huart1, &uartRxByte, 1);
      }
      if (uartCmdReady) {
        ProcessUARTCommand();
        break; // Đã nhận và xử lý lệnh → thoát vòng chờ
      }
      HAL_Delay(10);
    }
  }
}

// ══════════════════════════════════════
//  EXTI CALLBACK (Cảm biến chạm + UART wakeup + RUNG)
// ══════════════════════════════════════
void HAL_GPIO_EXTI_Callback(uint16_t GPIO_Pin) {
  if (GPIO_Pin == touch_Pin) {
    // Cảm biến chạm PA7 kích hoạt
    wakeupSource = 1;
    lastActionTime = HAL_GetTick();
  } else if (GPIO_Pin == GPIO_PIN_10) {
    // PA10 (UART1 RX) - ESP32 gửi dữ liệu → đánh thức
    wakeupSource = 2;
    lastActionTime = HAL_GetTick();
  } else if (GPIO_Pin == SW420_Pin) {
    // Ghi nhận rung lắc nếu cửa ĐANG ĐÓNG (CTHT = RESET) và đã đóng được hơn 5s
    // (tránh dư chấn khi vừa đóng cửa).
    // Không cảnh báo ngay để chờ 2s xem có phải do rơ-le mở khóa gây rung không.
    if (HAL_GPIO_ReadPin(CTHT_GPIO_Port, CTHT_Pin) == GPIO_PIN_RESET) {
      if (HAL_GetTick() - doorClosedTime > 5000) {
        if (!vibrationDetected) {
          vibrationDetected = 1;
          vibrationTime = HAL_GetTick();
          wakeupSource = 3;
          lastActionTime = HAL_GetTick();
        }
      }
    }
  }
}

/* USER CODE END 4 */

void Error_Handler(void) {
  __disable_irq();
  while (1) {
  }
}
#ifdef USE_FULL_ASSERT
/**
 * @brief  Reports the name of the source file and the source line number
 *         where the assert_param error has occurred.
 * @param  file: pointer to the source file name
 * @param  line: assert_param error line source number
 * @retval None
 */
void assert_failed(uint8_t *file, uint32_t line) {
  /* USER CODE BEGIN 6 */
  /* User can add his own implementation to report the file name and line
     number, ex: printf("Wrong parameters value: file %s on line %d\r\n", file,
     line) */
  /* USER CODE END 6 */
}
#endif /* USE_FULL_ASSERT */
